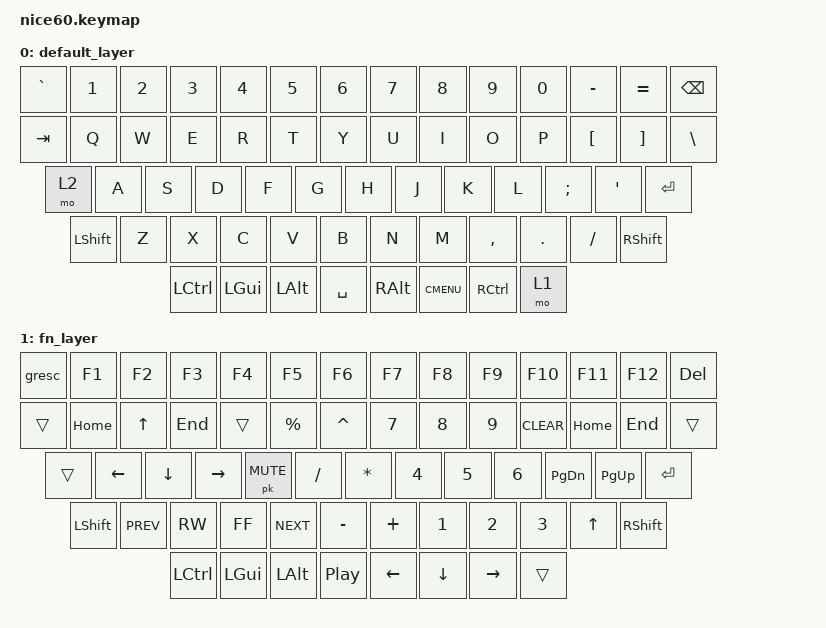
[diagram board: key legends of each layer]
/*
 * Copyright (c) 2021 Nick Winans
 *
 * SPDX-License-Identifier: MIT
 */

#include <behaviors.dtsi>
#include <dt-bindings/zmk/keys.h>
#include <dt-bindings/zmk/rgb.h>
#include <dt-bindings/zmk/bt.h>
#include <dt-bindings/zmk/outputs.h>
#include <dt-bindings/zmk/reset.h>
#include <dt-bindings/zmk/ext_power.h>

/ {
	keymap {
		compatible = "zmk,keymap";
		
		default_layer {
// ------------------------------------------------------------------------------------------ ___ALL_OK
// | GRAVE |  1  |  2  |  3  |  4  |  5  |  6  |  7  |  8  |  9  |  0  |  -  |  =  |  BKSP  |
// | TAB  |  Q  |  W  |  E  |  R  |  T  |  Y  |  U  |  I  |  O  |  P  |  [  |  ]  |   "|"   |
// | MO(2)  |  A  |  S  |  D  |  F  |  G  |  H  |  J  |  K  |  L  |  ;  |  '  |    ENTER    |
// |  SHIFT  |  Z  |  X  |  C  |  V  |  B  |  N  |  M  |  ,  |  .  |  /  |      SHIFT       |
// |  CTL  |  WIN  |  ALT  |            SPACE            |  ALT  |  MENU  |  CTL |  MO (1)  |
// ------------------------------------------------------------------------------------------
			bindings = <
	&kp GRAVE  &kp N1 &kp N2 &kp N3 &kp N4 &kp N5 &kp N6 &kp N7 &kp N8 &kp N9 &kp N0 &kp MINUS &kp EQUAL  &kp BSPC
	&kp TAB  &kp Q  &kp W  &kp E  &kp R  &kp T  &kp Y  &kp U  &kp I  &kp O  &kp P  &kp LBKT  &kp RBKT  &kp BSLH
	&mo 2  &kp A  &kp S  &kp D  &kp F  &kp G  &kp H  &kp J  &kp K  &kp L  &kp SEMI &kp SQT           &kp RET
	&kp LSHFT   &kp Z  &kp X  &kp C  &kp V  &kp B  &kp N  &kp M  &kp COMMA &kp DOT &kp FSLH           &kp RSHFT
	&kp LCTRL &kp LGUI &kp LALT             &kp SPACE                     &kp RALT  &kp K_CMENU  &kp RCTRL   &mo 1
			>;
		}; 

		fn_layer {
// ------------------------------------------------------------------------------------------------
// |  ESC   | F1  | F2  | F3  | F4  | F5  | F6  | F7  | F8  | F9  | F10  | F11 | F12 | DEL        |
// |         | HOME | UP | END |    |  % |  ^  | 7   |  8  |  9  |  CLEAR | HOME    |   END |     |
// |          | LT |  DN  | RT | MUTE |   /  | *  | 4   |  5   | 6   | PG DN | PG UP  |   ENTER   |
// |  SHIFT | PREV | RW   | FF   | NEXT |  -    |   +   |  1   |  2  |  3  | UP    |    SHIFT     |
// |  CTL    | WIN  |  ALT  |             PLAY / PAUSE           | LT  |   DN    |   RT    |      |
// ------------------------------------------------------------------------------------------------
			bindings = <
	&gresc   &kp F1    &kp F2    &kp F3  &kp F4   &kp F5    &kp F6    &kp F7   &kp F8   &kp F9   &kp F10  &kp F11 &kp F12  &kp DEL
	&trans  &kp HOME   &kp UP    &kp END  &trans &kp PERCENT &kp CARET &kp N7   &kp N8    &kp N9  &kp CLEAR  &kp HOME      &kp END  &trans
	&trans   &kp LEFT  &kp DOWN  &kp RIGHT &pk MUTE &kp SLASH &kp ASTERISK   &kp N4    &kp N5    &kp N6     &kp PG_DN    &kp PG_UP   &kp ENTER
	&kp LSHFT    &kp C_PREV  &kp C_RW  &kp C_FF &kp C_NEXT &kp MINUS   &kp PLUS  &kp N1   &kp N2    &kp N3    &kp UP                &kp RSHFT
	&kp LCTRL  &kp LGUI   &kp LALT                            &kp C_PLAY_PAUSE                      &kp LEFT   &kp DOWN   &kp RIGHT    &trans
			>;
		};
	};

		rgb_layer {
// ------------------------------------------------------------------------------------------------
// | BT CLR  | BT 1  | BT 2  | BT 3  | BT 4  |     |     |     |     |      |     |     |     |   DEL  | ___OK
// |   |  SC LOCK | CAPS | NUM LOCK | PRT SCR  |   |   |   |   |   |   | EFFECT REV |  EFFECT FORW |   |
// |          |    |      | C_BRI_UP | BRIUP | SPDUP | HUEUP | SATUP |     |     | PG DN | PG UP |  ENTER     |
// |  SHIFT      |     |      |C_BRI_DN| BRIDN | SPDDN | HUEDN | SATDN | HOME  |  END  | UP  |    SHIFT       |
// |   CTL      | GUI     |  ALT     |                TOG RGB                 | LT    |  DN   | RT    |       |
// ------------------------------------------------------------------------------------------------
			bindings = <
	&bt BT_CLR   &bt BT_SEL 0    &bt BT_SEL 1   &bt BT_SEL 2  &bt BT_SEL 3  &trans  &trans   &trans   &trans   &trans  &trans   &trans   &trans    &kp DEL
	&trans    &kp SLCK   &kp CLCK   &kp LNLCK   &kp PSCRN   &trans  &trans   &trans   &trans   &trans  &trans   &rgb_ug RGB_EFR    &rgb_ug RGB_EFF  &trans
	&trans &trans &trans &kp C_BRI_UP  &rgb_ug RGB_BRI  &rgb_ug RGB_SPI   &rgb_ug RGB_HUI &rgb_ug RGB_SAI  &trans &trans  &kp PG_DN   &kp PG_UP   &kp ENTER
	&kp LSHFT   &trans &trans &kp C_BRI_DN  &rgb_ug RGB_BRD &rgb_ug RGB_SPD   &rgb_ug RGB_HUD   &rgb_ug RGB_SAD   &kp HOME   &kp END   &kp UP     &kp RSHFT
	&kp LCTRL  &kp LGUI   &kp LALT                                 &rgb_ug RGB_TOG                              &kp LEFT     &kp DOWN   &kp RIGHT    &trans
			>;
		};
	};
};
